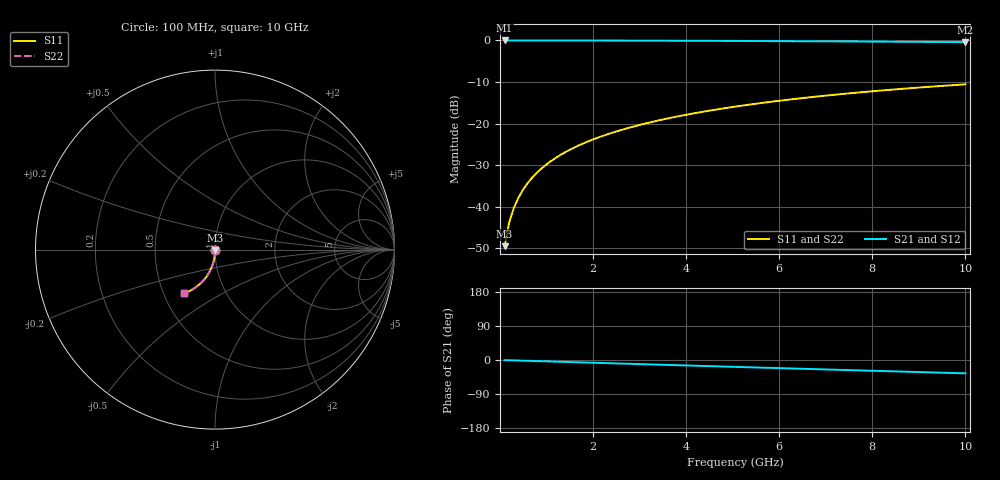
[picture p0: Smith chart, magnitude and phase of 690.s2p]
# Hz S RI R 50.00
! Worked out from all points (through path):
!   100 points, 100 MHz to 10 GHz, reference 50 ohm
!   highest |S21| = -0.01 dB at 100 MHz (marker M1); lowest = -0.4 dB at 10 GHz (marker M2)
!   group delay of S21, straight-line fit = 9.8 ps
!   lowest |S11| = -49.5 dB at 100 MHz (marker M3), VSWR 1.01, Z = 50.1 - j0.324 ohm
!   |S11| at or under -10 dB: start of sweep to end of sweep
!   |S22| runs from -49.5 to -10.6 dB; largest |S21 - S12| = 0
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1e8  0.000891 -0.00324  0.9991 -0.00629  0.9991 -0.00629  0.000891 -0.00324
2e8  0.000831 -0.00648  0.999 -0.0126  0.999 -0.0126  0.000831 -0.00648
3e8  0.00073 -0.00971  0.9988 -0.0189  0.9988 -0.0189  0.00073 -0.00971
4e8  0.000586 -0.0129  0.9986 -0.0251  0.9986 -0.0251  0.000586 -0.0129
5e8  0.000402 -0.0162  0.9984 -0.0314  0.9984 -0.0314  0.000402 -0.0162
6e8  0.000176 -0.0194  0.9981 -0.0377  0.9981 -0.0377  0.000176 -0.0194
7e8  -9.02e-05 -0.0226  0.9978 -0.044  0.9978 -0.044  -9.02e-05 -0.0226
8e8  -0.000397 -0.0259  0.9974 -0.0503  0.9974 -0.0503  -0.000397 -0.0259
9e8  -0.000745 -0.0291  0.997 -0.0565  0.997 -0.0565  -0.000745 -0.0291
1.1e9  -0.00156 -0.0355  0.996 -0.0691  0.996 -0.0691  -0.00156 -0.0355
1.4e9  -0.00309 -0.0451  0.9941 -0.0878  0.9941 -0.0878  -0.00309 -0.0451
1.8e9  -0.00569 -0.0578  0.9909 -0.1127  0.9909 -0.1127  -0.00569 -0.0578
2.1e9  -0.00805 -0.0672  0.988 -0.1312  0.988 -0.1312  -0.00805 -0.0672
2.5e9  -0.0117 -0.0796  0.9834 -0.1558  0.9834 -0.1558  -0.0117 -0.0796
2.9e9  -0.016 -0.0917  0.9781 -0.1802  0.9781 -0.1802  -0.016 -0.0917
3.4e9  -0.0223 -0.1066  0.9704 -0.2104  0.9704 -0.2104  -0.0223 -0.1066
4.2e9  -0.034 -0.1294  0.9557 -0.2577  0.9557 -0.2577  -0.034 -0.1294
5.1e9  -0.0499 -0.1534  0.9359 -0.3092  0.9359 -0.3092  -0.0499 -0.1534
5.9e9  -0.066 -0.173  0.9155 -0.3534  0.9155 -0.3534  -0.066 -0.173
6.7e9  -0.0838 -0.1908  0.8929 -0.3958  0.8929 -0.3958  -0.0838 -0.1908
8.4e9  -0.1262 -0.222  0.8378 -0.4794  0.8378 -0.4794  -0.1262 -0.222
1e10  -0.1703 -0.2426  0.7791 -0.5495  0.7791 -0.5495  -0.1703 -0.2426
